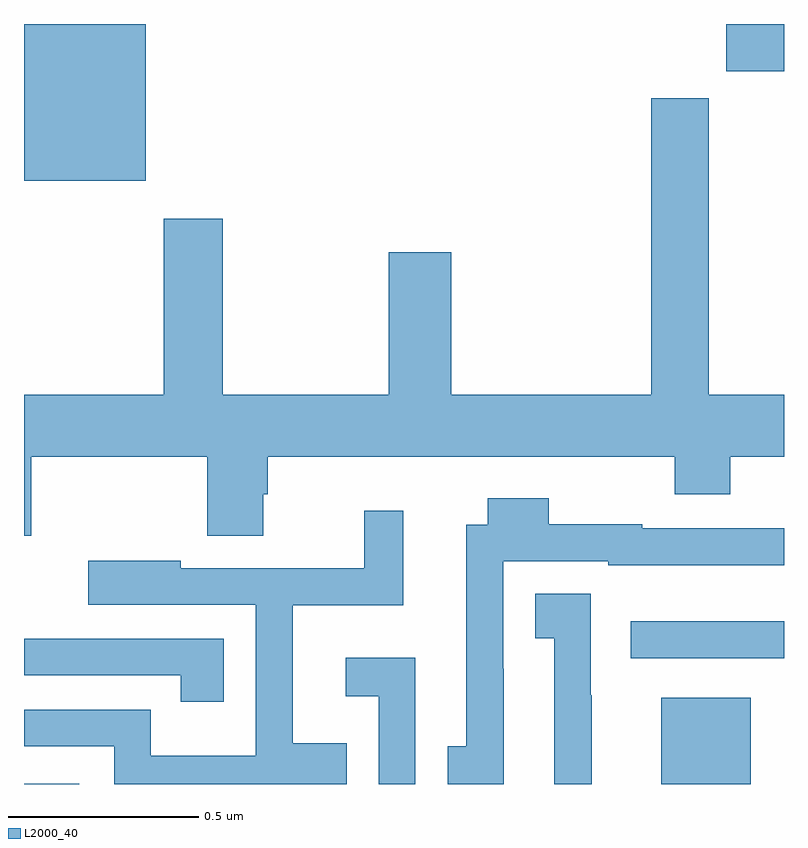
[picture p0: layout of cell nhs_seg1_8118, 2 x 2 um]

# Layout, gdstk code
import gdstk
lib = gdstk.Library(unit=1e-6, precision=1e-09)
def R(c, l, rs):  # rectangles x0, y0, x1, y1
    for r in rs: c.add(gdstk.rectangle(r[:2], r[2:], *l))
def P(c, l, *ps):  # polygons
    for p in ps: c.add(gdstk.Polygon(p, *l))
L2000_40 = (2000, 40)

nhs_seg1_8118 = lib.new_cell('nhs_seg1_8118')
R(nhs_seg1_8118, L2000_40, [(212,556.199,212.145,556.2), (213.677,556.199,213.913,556.426), (213.597,556.53,214,556.627), (212,557.786,212.32,558.199), (213.848,558.075,214,558.199)])
P(nhs_seg1_8118, L2000_40, [(212.019,557.06),(212.482,557.06),(212.482,556.852),(212.629,556.852),(212.629,556.962),(212.642,556.962),(212.642,557.06),(213.712,557.06),(213.712,556.961),(213.859,556.961),(213.859,557.06),(214,557.06),(214,557.224),(213.802,557.224),(213.802,558.003),(213.65,558.003),(213.65,557.224),(213.124,557.224),(213.124,557.599),(212.96,557.599),(212.96,557.224),(212.523,557.224),(212.523,557.686),(212.368,557.686),(212.368,557.224),(212,557.224),(212,556.852),(212.019,556.852)],
  [(213.262,556.502),(213.261,556.502),(213.261,556.785),(213.537,556.785),(213.537,556.775),(214,556.775),(214,556.872),(213.627,556.872),(213.627,556.882),(213.381,556.882),(213.381,556.951),(213.221,556.951),(213.221,556.881),(213.164,556.881),(213.164,556.299),(213.115,556.299),(213.115,556.199),(213.262,556.199)],
  [(212.849,556.306),(212.707,556.306),(212.707,556.67),(212.998,556.67),(212.998,556.918),(212.896,556.918),(212.896,556.767),(212.413,556.767),(212.413,556.786),(212.169,556.786),(212.169,556.671),(212.61,556.671),(212.61,556.273),(212.334,556.273),(212.334,556.394),(212.231,556.394),(212.231,556.395),(212,556.395),(212,556.299),(212.238,556.299),(212.238,556.199),(212.849,556.199)],
  [(213.494,556.433),(213.492,556.433),(213.492,556.7),(213.346,556.7),(213.346,556.582),(213.395,556.582),(213.395,556.199),(213.494,556.199)],
  [(212.525,556.581),(212,556.581),(212,556.485),(212.412,556.485),(212.412,556.416),(212.525,556.416)],
  [(213.03,556.531),(212.847,556.531),(212.847,556.43),(212.934,556.43),(212.934,556.199),(213.03,556.199)])

lib.write_gds('nhs_seg1_8118.gds')
